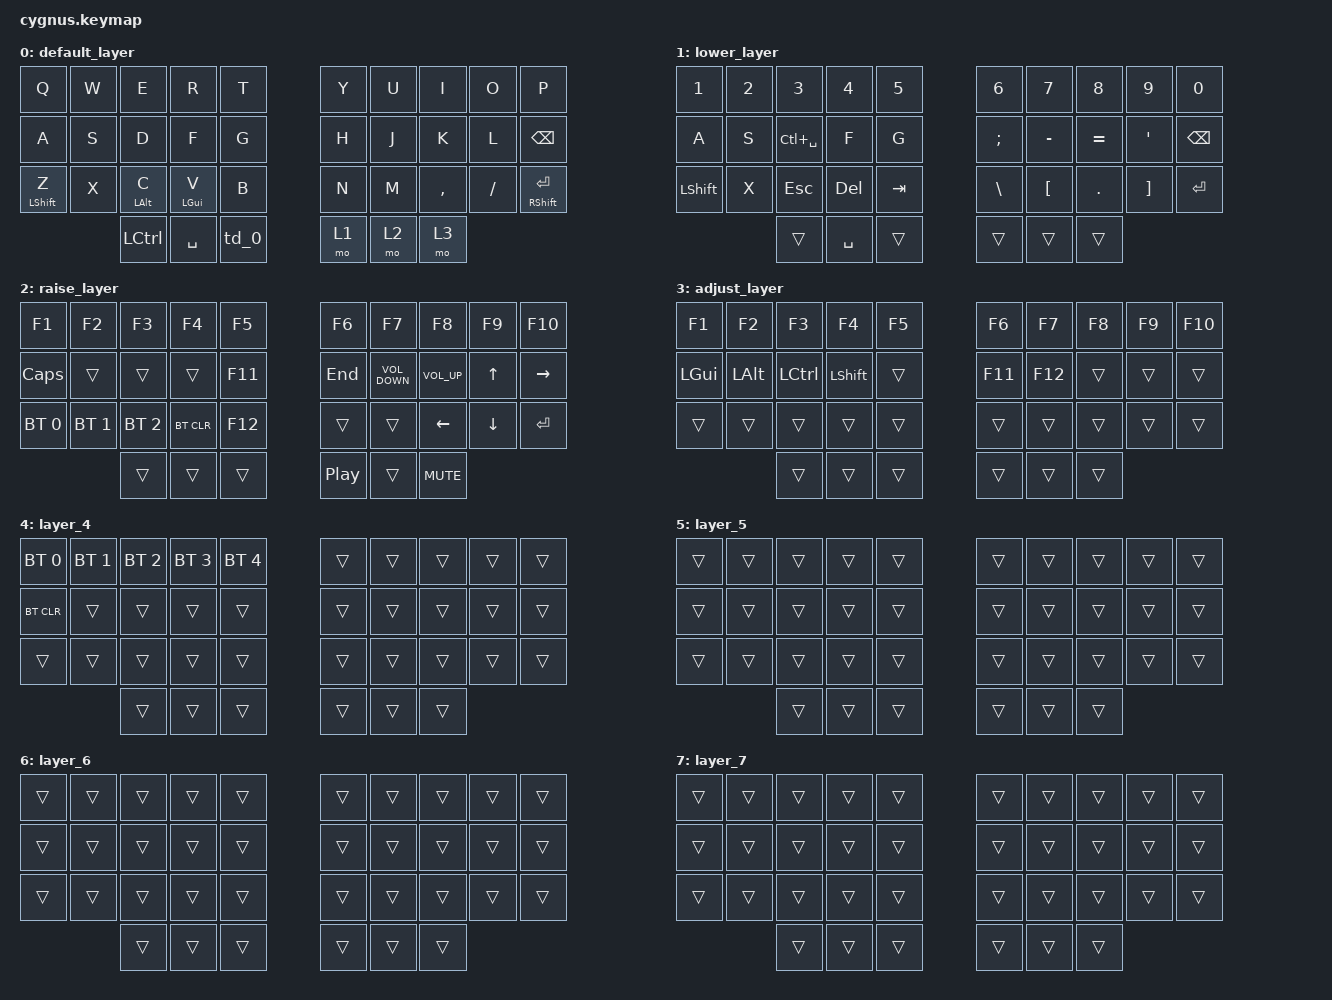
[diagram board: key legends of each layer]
/*
 * Copyright (c) 2020 The ZMK Contributors
 *
 * SPDX-License-Identifier: MIT
 */

#include <behaviors.dtsi>
#include <dt-bindings/zmk/bt.h>
#include <dt-bindings/zmk/keys.h>

&mt {
    tapping-term-ms = <200>;
    flavor = "tap-preferred";
};

&sk {
    release-after-ms = <2000>;
    quick-release;
};

/ {
    combos {
        compatible = "zmk,combos";

        left_bkt {
            bindings = <&kp LBKT>;
            key-positions = <3 2>;
            timeout-ms = <50>;
        };

        right_bkt {
            bindings = <&kp RBKT>;
            key-positions = <6 7>;
            timeout-ms = <50>;
        };

        left_par {
            bindings = <&kp LEFT_PARENTHESIS>;
            key-positions = <12 13>;
            timeout-ms = <50>;
        };

        right_par {
            bindings = <&kp RIGHT_PARENTHESIS>;
            key-positions = <16 17>;
            timeout-ms = <50>;
        };

        left_brace {
            bindings = <&kp LEFT_BRACE>;
            key-positions = <23 22>;
            timeout-ms = <50>;
        };

        right_brace {
            bindings = <&kp RIGHT_BRACE>;
            key-positions = <26 27>;
            timeout-ms = <50>;
        };

        bac {
            bindings = <&kp BACKSLASH>;
            key-positions = <4 5>;
        };

        pipe {
            bindings = <&kp PIPE>;
            key-positions = <14 15>;
        };

        qrt {
            bindings = <&kp SINGLE_QUOTE>;
            key-positions = <17 18>;
        };

        sqt {
            bindings = <&kp DOUBLE_QUOTES>;
            key-positions = <17 18 26>;
        };

        lessthan {
            bindings = <&kp LESS_THAN>;
            key-positions = <25 27>;
        };

        greater {
            bindings = <&kp GREATER_THAN>;
            key-positions = <25 28>;
        };

        grave {
            bindings = <&kp GRAVE>;
            key-positions = <3 4>;
        };

        tidle {
            bindings = <&kp TILDE>;
            key-positions = <5 6>;
        };

        xiahu {
            bindings = <&kp UNDERSCORE>;
            key-positions = <15 17>;
        };

        plus {
            bindings = <&kp PLUS>;
            key-positions = <15 18>;
        };
    };

    behaviors {
        tab_esc_ctrl: tab_esc_ctrl {
            compatible = "zmk,behavior-tap-dance";
            label = "TAB_ESC_CTRL";
            #binding-cells = <0>;
            bindings = <&mt LCTRL ESC>, <&kp TAB>;
        };
        gqt: global-quick-tap {
            compatible = "zmk,behavior-hold-tap";
            label = "GLOBAL_QUICK_TAP";
            bindings = <&kp>, <&kp>;

            #binding-cells = <2>;
            quick-tap-ms = <200>;
            tapping-term-ms = <250>;
            global-quick-tap;
        };
        ltq: ltq {
            compatible = "zmk,behavior-hold-tap";
            label = "LTQ";
            bindings = <&mo>, <&kp>;

            #binding-cells = <2>;
            tapping-term-ms = <250>;
            global-quick-tap;
            quick-tap-ms = <200>;
        };
        ht: ht {
            compatible = "zmk,behavior-hold-tap";
            label = "HT";
            bindings = <&kp>, <&kp>;

            #binding-cells = <2>;
            tapping-term-ms = <200>;
            quick-tap-ms = <100>;
            flavor = "tap-preferred";
        };
        td_0: td_0 {
            compatible = "zmk,behavior-tap-dance";
            label = "TD_0";
            #binding-cells = <0>;
            bindings = <&mo 1>, <&kp LCTRL>;
        };
    };

    keymap {
        compatible = "zmk,keymap";

        default_layer {
            bindings = <
&kp Q                        &kp W             &kp E                  &kp R           &kp T  &kp Y         &kp U  &kp I      &kp O      &kp P
&kp A                        &kp S             &kp D                  &kp F           &kp G  &kp H         &kp J  &kp K      &kp L      &kp BSPC
&ht LEFT_SHIFT Z             &kp X             &ht LEFT_ALT C         &ht LEFT_GUI V  &kp B  &kp N         &kp M  &kp COMMA  &kp SLASH  &ht RIGHT_SHIFT ENTER
                  &kp LCTRL         &kp SPACE                  &td_0                  &mo 1  &mo 2  &mo 3
            >;
        };

        lower_layer {
            bindings = <
&kp N1             &kp N2             &kp N3                 &kp N4   &kp N5   &kp N6            &kp N7     &kp N8     &kp N9    &kp N0
&kp A              &kp S              &kp LC(SPACE)          &kp F    &kp G    &kp SEMI          &kp MINUS  &kp EQUAL  &kp SQT   &kp BSPC
&kp LSHFT          &kp X              &kp ESC                &kp DEL  &kp TAB  &kp BSLH          &kp LBKT   &kp DOT    &kp RBKT  &kp RET
           &trans          &kp SPACE                 &trans           &trans   &trans    &trans
            >;
        };

        raise_layer {
            bindings = <
&kp F1                &kp F2                &kp F3                &kp F4      &kp F5    &kp F6               &kp F7             &kp F8           &kp F9          &kp F10
&kp CAPSLOCK          &trans                &trans                &trans      &kp F11   &kp END              &kp C_VOLUME_DOWN  &kp C_VOLUME_UP  &kp UP_ARROW    &kp RIGHT
&bt BT_SEL 0          &bt BT_SEL 1          &bt BT_SEL 2          &bt BT_CLR  &kp F12   &trans               &trans             &kp LEFT_ARROW   &kp DOWN_ARROW  &kp ENTER
              &trans                &trans                &trans              &kp C_PP  &trans   &kp C_MUTE
            >;
        };

        adjust_layer {
            bindings = <
&kp F1                &kp F2                &kp F3             &kp F4          &kp F5  &kp F6           &kp F7   &kp F8  &kp F9  &kp F10
&kp LEFT_GUI          &kp LEFT_ALT          &kp LCTRL          &kp LEFT_SHIFT  &trans  &kp F11          &kp F12  &trans  &trans  &trans
&trans                &trans                &trans             &trans          &trans  &trans           &trans   &trans  &trans  &trans
              &trans                &trans             &trans                  &trans  &trans   &trans
            >;
        };

        layer_4 {
            bindings = <
&bt BT_SEL 0          &bt BT_SEL 1          &bt BT_SEL 2          &bt BT_SEL 3  &bt BT_SEL 4  &trans          &trans  &trans  &trans  &trans
&bt BT_CLR            &trans                &trans                &trans        &trans        &trans          &trans  &trans  &trans  &trans
&trans                &trans                &trans                &trans        &trans        &trans          &trans  &trans  &trans  &trans
              &trans                &trans                &trans                &trans        &trans  &trans
            >;
        };

        layer_5 {
            bindings = <
&trans          &trans          &trans          &trans  &trans  &trans          &trans  &trans  &trans  &trans
&trans          &trans          &trans          &trans  &trans  &trans          &trans  &trans  &trans  &trans
&trans          &trans          &trans          &trans  &trans  &trans          &trans  &trans  &trans  &trans
        &trans          &trans          &trans          &trans  &trans  &trans
            >;
        };

        layer_6 {
            bindings = <
&trans          &trans          &trans          &trans  &trans  &trans          &trans  &trans  &trans  &trans
&trans          &trans          &trans          &trans  &trans  &trans          &trans  &trans  &trans  &trans
&trans          &trans          &trans          &trans  &trans  &trans          &trans  &trans  &trans  &trans
        &trans          &trans          &trans          &trans  &trans  &trans
            >;
        };

        layer_7 {
            bindings = <
&trans          &trans          &trans          &trans  &trans  &trans          &trans  &trans  &trans  &trans
&trans          &trans          &trans          &trans  &trans  &trans          &trans  &trans  &trans  &trans
&trans          &trans          &trans          &trans  &trans  &trans          &trans  &trans  &trans  &trans
        &trans          &trans          &trans          &trans  &trans  &trans
            >;
        };
    };
};
